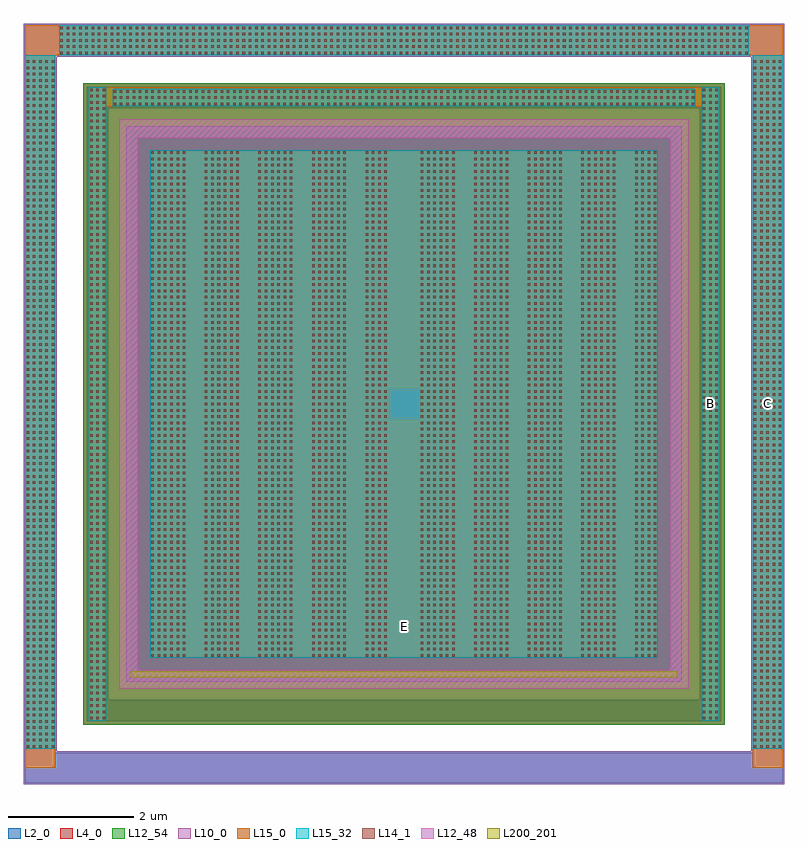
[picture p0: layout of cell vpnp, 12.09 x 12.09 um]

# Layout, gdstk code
import gdstk
lib = gdstk.Library(unit=1e-6, precision=1e-09)
def R(c, l, rs):  # rectangles x0, y0, x1, y1
    for r in rs: c.add(gdstk.rectangle(r[:2], r[2:], *l))
def A(c, l, x, y, w, h, nx, ny, dx, dy):  # array of equal rectangles
    R(c, l, [(x+i*dx, y+j*dy, x+i*dx+w, y+j*dy+h) for i in range(nx) for j in range(ny)])
L2_0 = (2, 0)
L4_0 = (4, 0)
L10_0 = (10, 0)
L12_48 = (12, 48)
L12_54 = (12, 54)
L14_1 = (14, 1)
L15_0 = (15, 0)
L15_32 = (15, 32)
L200_201 = (200, 201)

vpnp = lib.new_cell('vpnp')
R(vpnp, L2_0, [(-12.529,-4.559,-0.477,-4.079), (-12.529,-4.079,-12.049,7.013), (-0.957,-4.079,-0.477,7.013), (-11.549,-3.579,-1.457,-3.239), (-11.549,-3.239,-11.209,6.173), (-1.797,-3.239,-1.457,6.173), (-10.853,-2.883,-2.153,5.817), (-11.549,6.173,-1.457,6.513), (-12.529,7.013,-0.477,7.493)])
R(vpnp, L4_0, [(-11.605,-3.635,-1.401,6.569)])
R(vpnp, L10_0, [(-12.55,-4.58,-0.456,-4.058), (-12.55,-4.058,-12.028,6.992), (-0.978,-4.058,-0.456,6.992), (-10.923,-2.953,-2.083,5.887), (-12.55,6.992,-0.456,7.514)])
R(vpnp, L12_48, [(-11.034,-3.064,-1.972,-2.758), (-11.034,-2.758,-10.728,5.692), (-2.278,-2.758,-1.972,5.692), (-11.034,5.692,-1.972,5.998)])
R(vpnp, L12_54, [(-11.605,-3.635,-1.401,6.569)])
A(vpnp, L14_1, -12.509, -4.003, 0.04, 0.04, 5, 110, 0.1, 0.1)
A(vpnp, L14_1, -0.937, -4.003, 0.04, 0.04, 5, 110, 0.1, 0.1)
A(vpnp, L14_1, -11.499, -3.553, 0.04, 0.04, 3, 101, 0.1, 0.1)
A(vpnp, L14_1, -1.747, -3.553, 0.04, 0.04, 3, 101, 0.1, 0.1)
A(vpnp, L14_1, -10.523, -2.553, 0.04, 0.04, 6, 81, 0.1, 0.1)
A(vpnp, L14_1, -9.671, -2.553, 0.04, 0.04, 6, 81, 0.1, 0.1)
A(vpnp, L14_1, -8.819, -2.553, 0.04, 0.04, 6, 81, 0.1, 0.1)
A(vpnp, L14_1, -7.967, -2.553, 0.04, 0.04, 6, 81, 0.1, 0.1)
A(vpnp, L14_1, -7.115, -2.553, 0.04, 0.04, 4, 81, 0.1, 0.1)
A(vpnp, L14_1, -6.235, -2.553, 0.04, 0.04, 6, 81, 0.1, 0.1)
A(vpnp, L14_1, -5.383, -2.553, 0.04, 0.04, 6, 81, 0.1, 0.1)
A(vpnp, L14_1, -4.531, -2.553, 0.04, 0.04, 6, 81, 0.1, 0.1)
A(vpnp, L14_1, -3.679, -2.553, 0.04, 0.04, 6, 81, 0.1, 0.1)
A(vpnp, L14_1, -2.827, -2.553, 0.04, 0.04, 4, 81, 0.1, 0.1)
A(vpnp, L14_1, -11.123, 6.223, 0.04, 0.04, 93, 3, 0.1, 0.1)
A(vpnp, L14_1, -11.973, 7.033, 0.04, 0.04, 110, 5, 0.1, 0.1)
R(vpnp, L15_0, [(-12.527,-4.319,-12.051,7.491), (-0.955,-4.319,-0.479,7.491), (-11.517,-3.571,-11.241,6.505), (-1.765,-3.571,-1.489,6.505), (-10.541,-2.571,-2.465,1.217), (-10.541,1.217,-6.753,1.717), (-6.253,1.217,-2.465,1.717), (-10.541,1.717,-2.465,5.505), (-11.241,6.205,-1.765,6.505), (-12.051,7.015,-0.955,7.491)])
R(vpnp, L15_32, [(-12.527,-4.021,-12.051,7.015), (-0.955,-4.021,-0.479,7.015), (-11.517,-3.571,-11.241,6.505), (-1.765,-3.571,-1.489,6.505), (-10.541,-2.571,-2.465,5.505), (-11.141,6.205,-1.865,6.481), (-11.991,7.015,-1.015,7.491)])
R(vpnp, L200_201, [(-10.853,-2.883,-2.153,-2.783)])
vpnp.add(gdstk.Label('E', (-6.503,-2.071), layer=15, texttype=20))
vpnp.add(gdstk.Label('B', (-1.627,1.467), layer=15, texttype=20))
vpnp.add(gdstk.Label('C', (-0.717,1.467), layer=15, texttype=20))

lib.write_gds('vpnp.gds')
